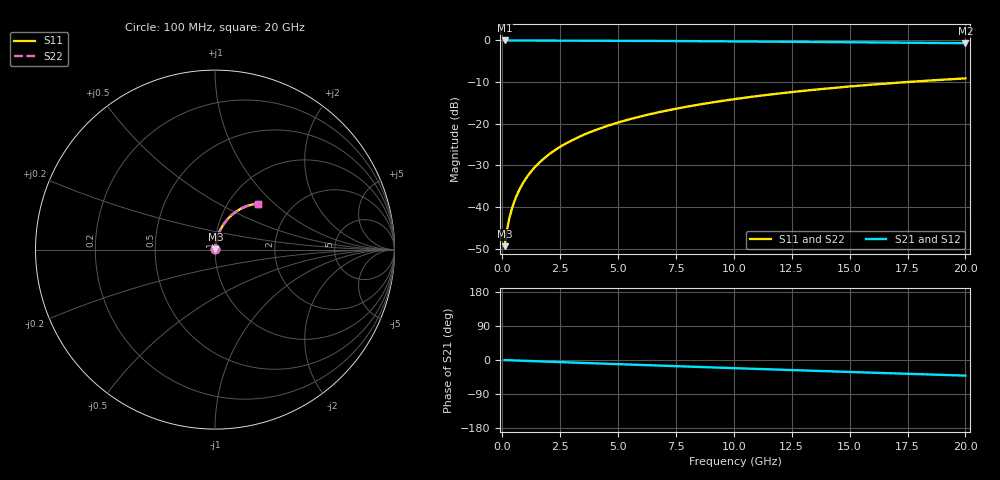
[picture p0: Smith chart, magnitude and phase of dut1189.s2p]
! Touchstone file exported from HFSS 2026.1.0
!  File:  C:/ffzhzh/LocalFiles/Ansys_Project_Files/temp_train_BSMRDL_1189_1783176283_51560.aedt
!  Generated:  10:45:59 PM Jul  4, 2026
!  Design:  BSMRDL
!  Project:  temp_train_BSMRDL_1189_1783176283_51560
! Variables:
!  h_bsmrdl = 4.39um
!  h_ox = 20um
!  h_rdl = 5um
!  h_sub = 80um
!  h_tmrdl = 5um
!  h_tsv = 80um
!  h_via = 3um
!  l_bsmrdl = 620.71um
!  l_sub = 1020.71um
!  l_tmrdl = 200um
!  m_sub = 200um
!  pitch = 45.63um
!  r_tsv = 6um
!  s_tmrdl = 10um
!  w_bsmrdl = 21.78um
!  w_sub = 500um
!  w_tmrdl = 12um
!  x_tsv_center1 = 206um
!  x_tsv_center2 = 848.49um
!  x_tsv_center3 = 1060.49um
!  x_tsv_center4 = 1702.98um
!  x_tsv_center5 = 1914.98um
!  x_tsv_center6 = 2557.47um
# GHz S MA R 50.000000
! Terminal data exported
! Port[1] = BSM_RDL1_1_T1
! Port[2] = BSM_RDL1_1_T2
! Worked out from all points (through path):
!   200 points, 100 MHz to 20 GHz, reference 50 ohm
!   highest |S21| = -0.02 dB at 100 MHz (marker M1); lowest = -0.7 dB at 20 GHz (marker M2)
!   group delay of S21, straight-line fit = 5.72 ps
!   lowest |S11| = -49.3 dB at 100 MHz (marker M3), VSWR 1.01, Z = 50.2 + j0.234 ohm
!   |S11| at or under -10 dB: start of sweep to 17.46 GHz
!   |S22| runs from -49.3 to -9.1 dB; largest |S21 - S12| = 3.1e-15
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0.1  0.003408 43.2  0.9975 -0.2  0.9975 -0.2  0.003408 43.2
! Gamma 0 0 0 0
! Port Impedance 50 0 50 0
0.2  0.005276 59.6  0.9974 -0.5  0.9974 -0.5  0.005276 59.6
0.3  0.007265 66.9  0.9972 -0.7  0.9972 -0.7  0.007264 66.9
0.4  0.009279 71.1  0.9971 -0.9  0.9971 -0.9  0.009278 71.1
0.5  0.01131 73.8  0.997 -1.1  0.997 -1.1  0.01131 73.8
0.6  0.01336 75.7  0.9969 -1.4  0.9969 -1.4  0.01336 75.7
0.8  0.0175 78.1  0.9968 -1.8  0.9968 -1.8  0.0175 78.1
1.1  0.02376 79.8  0.9965 -2.5  0.9965 -2.5  0.02376 79.8
1.5  0.03213 80.6  0.9961 -3.3  0.9961 -3.3  0.03213 80.6
1.8  0.0384 80.7  0.9957 -4.0  0.9957 -4.0  0.0384 80.7
2.1  0.04465 80.6  0.9953 -4.7  0.9953 -4.7  0.04465 80.6
2.7  0.05708 79.9  0.9943 -6.0  0.9943 -6.0  0.05708 79.9
3.5  0.07345 78.6  0.9927 -7.7  0.9927 -7.7  0.07345 78.7
4.2  0.08757 77.4  0.991 -9.3  0.991 -9.3  0.08757 77.4
5  0.1035 75.9  0.989 -11.0  0.989 -11.0  0.1035 75.9
5.9  0.121 74.1  0.9864 -12.9  0.9864 -12.9  0.121 74.1
6.8  0.1383 72.3  0.9836 -14.8  0.9836 -14.8  0.1383 72.4
8.3  0.1664 69.4  0.9784 -18.0  0.9784 -18.0  0.1664 69.4
10.1  0.1988 65.9  0.9716 -21.7  0.9716 -21.7  0.1988 65.9
13.4  0.2547 59.4  0.9575 -28.4  0.9575 -28.4  0.2547 59.5
16.7  0.3054 53.2  0.9419 -34.9  0.9419 -34.9  0.3053 53.2
20  0.3504 47.1  0.9258 -41.2  0.9258 -41.2  0.3504 47.1
